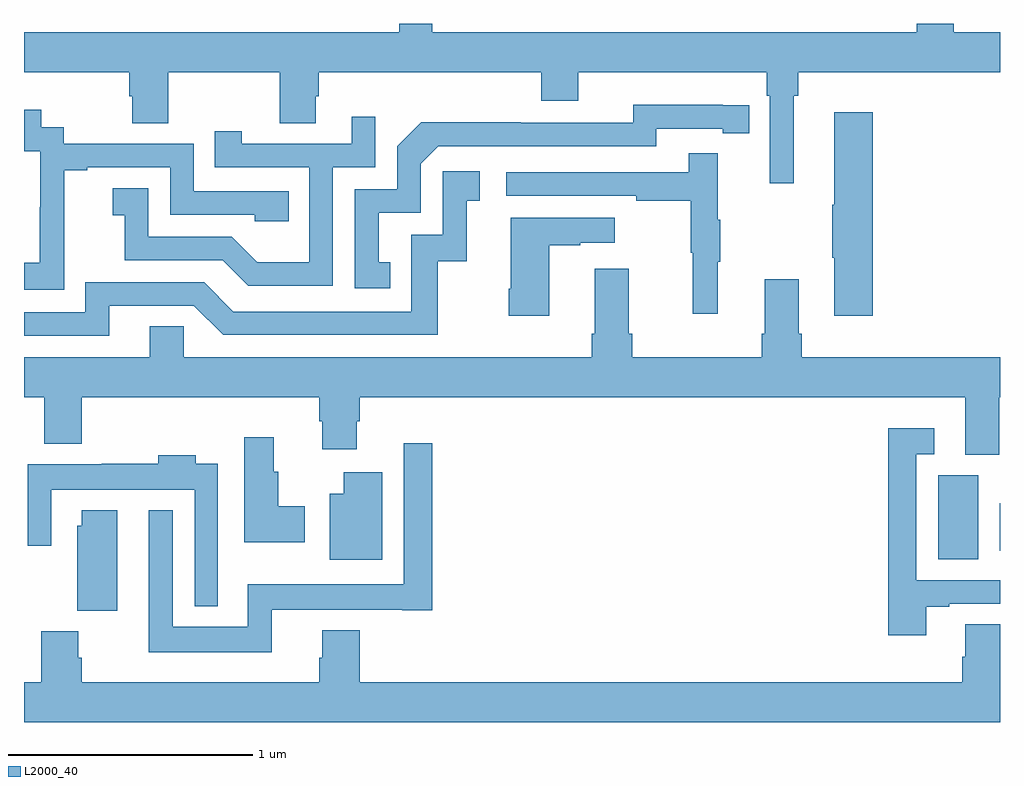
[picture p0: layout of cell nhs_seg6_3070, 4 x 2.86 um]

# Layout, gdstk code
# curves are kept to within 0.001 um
import gdstk
lib = gdstk.Library(unit=1e-6, precision=1e-09)
def R(c, l, rs):  # rectangles x0, y0, x1, y1
    for r in rs: c.add(gdstk.rectangle(r[:2], r[2:], *l))
def P(c, l, *ps):  # polygons
    for p in ps: c.add(gdstk.Polygon(p, *l))
L2000_40 = (2000, 40)

nhs_seg6_3070 = lib.new_cell('nhs_seg6_3070')
R(nhs_seg6_3070, L2000_40, [(294.746,981.304,294.91,981.648), (294.998,981.339,295,981.535)])
P(nhs_seg6_3070, L2000_40, [(294.154,983.204),(294.173,983.204),(294.173,983.3),(295,983.3),(295,983.464),(294.81,983.464),(294.81,983.5),(294.659,983.5),(294.659,983.464),(292.673,983.464),(292.673,983.5),(292.537,983.5),(292.537,983.464),(291,983.464),(291,983.3),(291.431,983.3),(291.431,983.202),(291.443,983.202),(291.443,983.092),(291.591,983.092),(291.591,983.3),(292.048,983.3),(292.048,983.092),(292.195,983.092),(292.195,983.202),(292.208,983.202),(292.208,983.3),(293.12,983.3),(293.12,983.183),(293.272,983.183),(293.272,983.3),(294.044,983.3),(294.044,983.204),(294.057,983.204),(294.057,982.845),(294.154,982.845)],
  [(292.502,982.521),(292.453,982.521),(292.453,982.725),(292.626,982.725),(292.626,982.926),(292.698,982.998),(293.592,982.998),(293.592,983.07),(293.864,983.07),(293.864,983.05),(293.972,983.05),(293.972,983.166),(293.496,983.167),(293.496,983.094),(293.036,983.094),(293.036,983.096),(292.628,983.096),(292.53,982.998),(292.53,982.821),(292.356,982.821),(292.356,982.416),(292.502,982.416)],
  [(291.165,982.615),(291.164,982.615),(291.164,982.899),(291.259,982.899),(291.259,982.911),(291.6,982.911),(291.6,982.716),(291.945,982.716),(291.945,982.689),(292.085,982.689),(292.085,982.812),(291.696,982.812),(291.696,983.007),(291.162,983.007),(291.162,983.076),(291.07,983.076),(291.07,983.146),(291,983.146),(291,982.977),(291.066,982.977),(291.066,982.748),(291.065,982.748),(291.065,982.519),(291,982.519),(291,982.409),(291.165,982.409)],
  [(294.479,983.137),(294.32,983.137),(294.32,982.757),(294.313,982.757),(294.313,982.54),(294.32,982.54),(294.32,982.302),(294.479,982.302)],
  [(292.266,982.911),(292.44,982.911),(292.44,983.119),(292.343,983.119),(292.343,983.007),(291.892,983.007),(291.892,983.059),(291.781,983.059),(291.781,982.911),(292.17,982.911),(292.17,982.522),(291.956,982.522),(291.852,982.626),(291.51,982.626),(291.51,982.825),(291.363,982.825),(291.363,982.715),(291.412,982.715),(291.412,982.53),(291.815,982.53),(291.92,982.425),(292.266,982.425)],
  [(293.843,982.523),(293.854,982.523),(293.854,982.697),(293.843,982.697),(293.843,982.969),(293.725,982.969),(293.725,982.89),(292.977,982.89),(292.977,982.794),(293.509,982.794),(293.509,982.774),(293.733,982.774),(293.733,982.56),(293.74,982.56),(293.74,982.311),(293.843,982.311)],
  [(291.349,982.344),(291.696,982.344),(291.816,982.224),(292.696,982.224),(292.696,982.527),(292.814,982.527),(292.814,982.773),(292.867,982.773),(292.867,982.894),(292.716,982.894),(292.716,982.635),(292.587,982.635),(292.587,982.32),(291.858,982.32),(291.738,982.44),(291.252,982.44),(291.252,982.317),(291,982.317),(291,982.221),(291.349,982.221)],
  [(293.152,982.591),(293.279,982.591),(293.279,982.601),(293.422,982.601),(293.422,982.705),(292.994,982.705),(292.994,982.414),(292.987,982.414),(292.987,982.302),(293.152,982.302)],
  [(294.997,981.968),(295,981.968),(295,982.132),(294.188,982.132),(294.188,982.228),(294.175,982.228),(294.175,982.453),(294.035,982.453),(294.035,982.228),(294.023,982.228),(294.023,982.132),(293.492,982.132),(293.492,982.228),(293.479,982.228),(293.479,982.495),(293.339,982.495),(293.339,982.228),(293.327,982.228),(293.327,982.132),(291.654,982.132),(291.654,982.259),(291.515,982.259),(291.515,982.132),(291,982.132),(291,981.968),(291.083,981.968),(291.083,981.779),(291.236,981.779),(291.236,981.968),(292.211,981.968),(292.211,981.87),(292.223,981.87),(292.223,981.756),(292.363,981.756),(292.363,981.87),(292.376,981.87),(292.376,981.968),(294.857,981.968),(294.857,981.733),(294.997,981.733)],
  [(294.697,981.111),(294.793,981.111),(294.793,981.123),(295,981.123),(295,981.219),(294.657,981.219),(294.657,981.735),(294.73,981.735),(294.73,981.841),(294.541,981.841),(294.541,980.994),(294.697,980.994)],
  [(292.15,981.522),(292.042,981.522),(292.042,981.663),(292.024,981.663),(292.024,981.805),(291.902,981.805),(291.902,981.374),(292.15,981.374)],
  [(292.016,981.098),(292.55,981.098),(292.55,981.096),(292.673,981.096),(292.673,981.781),(292.557,981.781),(292.557,981.202),(291.918,981.202),(291.918,981.028),(291.609,981.028),(291.609,981.505),(291.512,981.505),(291.512,980.924),(292.016,980.924)],
  [(291.795,981.697),(291.703,981.697),(291.703,981.73),(291.551,981.73),(291.551,981.697),(291.319,981.697),(291.319,981.694),(291.015,981.694),(291.015,981.36),(291.111,981.36),(291.111,981.59),(291.699,981.59),(291.699,981.113),(291.795,981.113)],
  [(292.468,981.661),(292.31,981.661),(292.31,981.574),(292.253,981.574),(292.253,981.302),(292.468,981.302)],
  [(291.382,981.505),(291.236,981.505),(291.236,981.441),(291.218,981.441),(291.218,981.094),(291.382,981.094)],
  [(295,981.038),(294.857,981.038),(294.857,980.906),(294.845,980.906),(294.845,980.8),(292.376,980.8),(292.376,981.013),(292.223,981.013),(292.223,980.901),(292.211,980.901),(292.211,980.8),(291.236,980.8),(291.236,980.9),(291.223,980.9),(291.223,981.009),(291.071,981.009),(291.071,980.8),(291,980.8),(291,980.636),(295,980.636)])

lib.write_gds('nhs_seg6_3070.gds')
